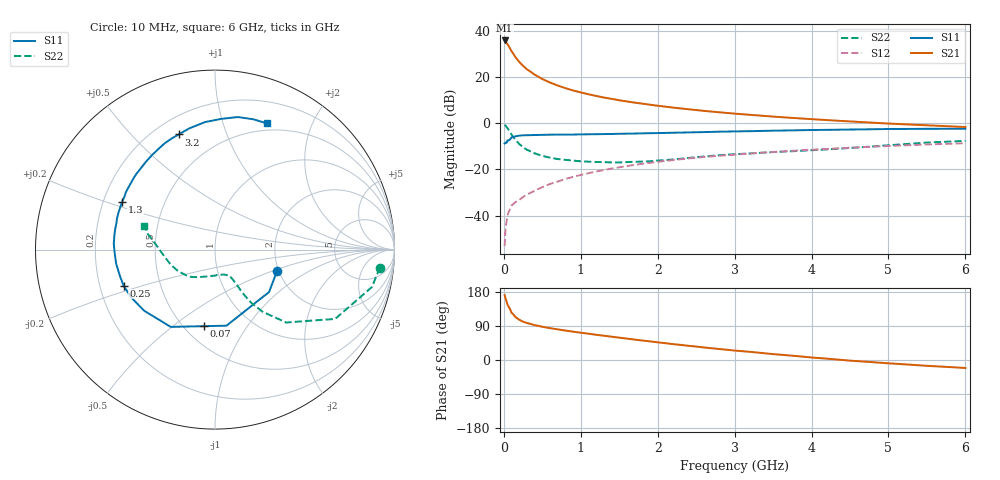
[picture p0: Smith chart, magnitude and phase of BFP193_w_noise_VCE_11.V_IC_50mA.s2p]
! Infineon Technologies  Discrete & RF Semiconductors
! BFP193
! VCE =  11. V,  IC =  50 mA
! Common Emitter S-Parameters:  Jan 2017
# GHz  S  MA  R  50
!  f  S11  S21  S12  S22
! GHz  MAG  ANG  MAG  ANG  MAG  ANG  MAG  ANG
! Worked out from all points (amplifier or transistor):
!   77 points, 10 MHz to 6 GHz, reference 50 ohm
!   highest |S21| = 35.8 dB at 10 MHz (marker M1)
!   |S21| within 3 dB of that: start of sweep to 72.6 MHz
!   unconditionally stable (mu >= 1): 618.5 MHz to 2.503 GHz
!   at 130 MHz: K = 0.54, MSG = 32.2 dB, |S12| = -34.7 dB
!   at 2.2 GHz: K = 1.02, MAG = 10.5 dB, |S12| = -16.0 dB
!   at 6 GHz: K = 0.89, MSG = 3.5 dB, |S12| = -8.7 dB
!   lowest NFmin = 1.52 dB at 450 MHz
!   S11 on the Smith chart (normalised r, x): 10 MHz: 1.96, -0.54; 70 MHz: 0.62, -0.65; 250 MHz: 0.30, -0.17; 1.3 GHz: 0.28, +0.23; 3.2 GHz: 0.29, +0.69; 6 GHz: 0.42, +1.41
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0.01  0.3656 -19.1  61.41 171.2  0.0022 77.0  0.924 -6.2
0.02  0.3829 -38.1  60.36 164.0  0.0046 79.1  0.899 -13.4
0.05  0.4287 -81.4  50.66 144.6  0.0105 62.2  0.7727 -30.0
0.07  0.4308 -98.0  44.26 138.2  0.0129 59.6  0.6851 -35.1
0.1  0.4963 -119.8  36.14 124.6  0.0166 57.1  0.5679 -45.7
0.15  0.5214 -139.2  26.87 113.4  0.0197 55.0  0.4356 -52.6
0.2  0.5382 -150.5  21.13 106.4  0.0219 57.3  0.3561 -55.8
0.25  0.5473 -158.5  17.34 101.1  0.0254 57.1  0.3039 -57.1
0.3  0.5498 -164.2  14.61 97.6  0.0286 59.5  0.2669 -57.8
0.4  0.5565 -172.1  11.18 91.9  0.0346 61.7  0.2231 -58.3
0.5  0.5595 -178.4  9.011 87.7  0.0414 64.3  0.1968 -59.2
0.6  0.5649 176.7  7.572 84.0  0.0486 65.4  0.1798 -60.1
0.7  0.5657 172.6  6.521 80.9  0.0547 65.8  0.1683 -61.1
0.9  0.5684 165.3  5.1 74.8  0.0691 66.3  0.1556 -65.6
1.1  0.5759 158.9  4.218 69.4  0.0831 65.6  0.1474 -70.8
1.3  0.5823 152.7  3.588 64.1  0.0972 64.0  0.1442 -77.4
2.1  0.6163 130.8  2.279 44.4  0.1528 56.1  0.1597 -109.6
3.1  0.6685 109.3  1.563 23.2  0.2151 44.4  0.2177 -140.0
3.2  0.6728 107.5  1.517 21.5  0.221 43.3  0.2222 -142.5
4.1  0.7154 92.9  1.195 5.1  0.2729 33.2  0.2661 -164.5
5.1  0.7502 78.9  0.966 -10.0  0.3264 21.8  0.3423 173.0
6  0.7603 67.7  0.827 -21.1  0.3694 11.7  0.4146 161.6
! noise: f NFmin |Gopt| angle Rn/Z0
0.45  1.52  0.43  -170  0.08
0.9  1.57  0.45  -164  0.09
1.9  2.2  0.61  -132  0.23
2.4  2.55  0.64  -119  0.48
